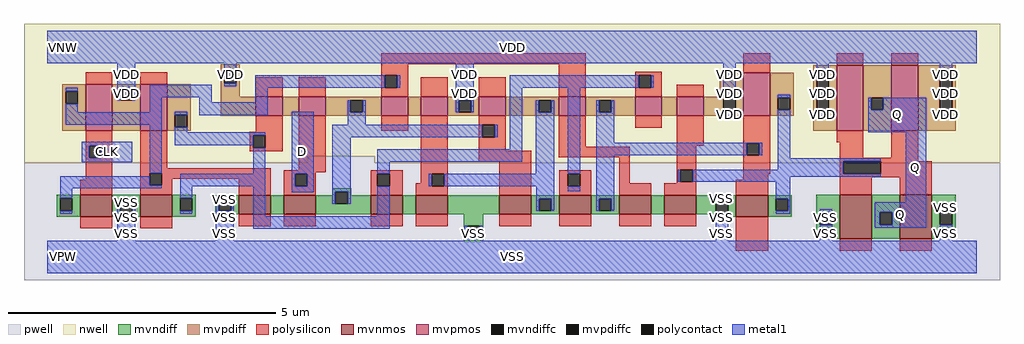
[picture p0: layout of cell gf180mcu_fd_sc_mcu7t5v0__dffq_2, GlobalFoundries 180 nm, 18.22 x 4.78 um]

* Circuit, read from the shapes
.subckt gf180mcu_fd_sc_mcu7t5v0__dffq_2 D CLK Q VDD VNW VPW VSS
XM1 VSS CLK n1 VPW nfet_06v0 w=0.405u l=0.6u
XM2 n2 n1 VSS VPW nfet_06v0 w=0.405u l=0.6u
XM3 n3 n1 VSS VPW nfet_06v0 w=0.36u l=0.6u
XM4 n4 D n3 VPW nfet_06v0 w=0.36u l=0.6u
XM5 n5 n2 n4 VPW nfet_06v0 w=0.36u l=0.6u
XM6 VSS n6 n5 VPW nfet_06v0 w=0.36u l=0.6u
XM7 n6 n4 VSS VPW nfet_06v0 w=0.36u l=0.6u
XM8 n7 n2 n6 VPW nfet_06v0 w=0.36u l=0.6u
XM9 n8 n1 n7 VPW nfet_06v0 w=0.36u l=0.6u
XM10 VSS n9 n8 VPW nfet_06v0 w=0.36u l=0.6u
XM11 n9 n7 VSS VPW nfet_06v0 w=0.4u l=0.6u
XM12 Q n9 VSS VPW nfet_06v0 w=0.82u l=0.6u m=2
XM13 VDD CLK n1 VNW pfet_06v0 w=0.865u l=0.5u
XM14 n2 n1 VDD VNW pfet_06v0 w=0.865u l=0.5u
XM15 n10 n2 VDD VNW pfet_06v0 w=0.36u l=0.5u
XM16 n4 D n10 VNW pfet_06v0 w=0.36u l=0.5u
XM17 n11 n1 n4 VNW pfet_06v0 w=0.36u l=0.5u
XM18 VDD n6 n11 VNW pfet_06v0 w=0.36u l=0.5u
XM19 n6 n4 VDD VNW pfet_06v0 w=0.36u l=0.5u
XM20 n7 n1 n6 VNW pfet_06v0 w=0.36u l=0.5u
XM21 n12 n2 n7 VNW pfet_06v0 w=0.36u l=0.5u
XM22 VDD n9 n12 VNW pfet_06v0 w=0.36u l=0.5u
XM23 n9 n7 VDD VNW pfet_06v0 w=0.8u l=0.5u
XM24 Q n9 VDD VNW pfet_06v0 w=1.22u l=0.5u m=2
.ends

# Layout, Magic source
magic
tech gf180mcuD
magscale 1 10
<< nwell >>
rect -86 377 3558 870
rect -86 352 973 377
rect 1224 352 3558 377
<< pwell >>
rect 973 352 1224 377
rect -86 -86 3558 352
<< mvnmos >>
rect 124 151 244 232
rect 348 151 468 232
rect 716 159 836 231
rect 884 159 1004 231
rect 1208 159 1328 231
rect 1376 159 1496 231
rect 1688 159 1808 231
rect 1912 159 2032 231
rect 2136 159 2256 231
rect 2304 159 2424 231
rect 2572 151 2692 231
rect 2960 68 3080 232
rect 3184 68 3304 232
<< mvpmos >>
rect 144 472 244 645
rect 348 472 448 645
rect 780 527 880 599
rect 940 527 1040 599
rect 1248 527 1348 599
rect 1396 527 1496 599
rect 1612 527 1712 599
rect 1911 527 2011 599
rect 2196 527 2296 599
rect 2352 527 2452 599
rect 2600 527 2700 687
rect 2948 472 3048 716
rect 3152 472 3252 716
<< mvndiff >>
rect 36 219 124 232
rect 36 173 49 219
rect 95 173 124 219
rect 36 151 124 173
rect 244 210 348 232
rect 244 164 273 210
rect 319 164 348 210
rect 244 151 348 164
rect 468 219 556 232
rect 1064 244 1136 257
rect 1064 231 1077 244
rect 468 173 497 219
rect 543 173 556 219
rect 468 151 556 173
rect 628 218 716 231
rect 628 172 641 218
rect 687 172 716 218
rect 628 159 716 172
rect 836 159 884 231
rect 1004 198 1077 231
rect 1123 231 1136 244
rect 1123 198 1208 231
rect 1004 159 1208 198
rect 1328 159 1376 231
rect 1496 159 1688 231
rect 1808 218 1912 231
rect 1808 172 1837 218
rect 1883 172 1912 218
rect 1808 159 1912 172
rect 2032 218 2136 231
rect 2032 172 2061 218
rect 2107 172 2136 218
rect 2032 159 2136 172
rect 2256 159 2304 231
rect 2424 210 2572 231
rect 2424 164 2497 210
rect 2543 164 2572 210
rect 2424 159 2572 164
rect 1556 117 1628 159
rect 1556 71 1569 117
rect 1615 71 1628 117
rect 2484 151 2572 159
rect 2692 218 2780 231
rect 2692 172 2721 218
rect 2767 172 2780 218
rect 2692 151 2780 172
rect 2872 167 2960 232
rect 1556 58 1628 71
rect 2872 121 2885 167
rect 2931 121 2960 167
rect 2872 68 2960 121
rect 3080 167 3184 232
rect 3080 121 3109 167
rect 3155 121 3184 167
rect 3080 68 3184 121
rect 3304 167 3392 232
rect 3304 121 3333 167
rect 3379 121 3392 167
rect 3304 68 3392 121
<< mvpdiff >>
rect 648 694 720 720
rect 648 648 661 694
rect 707 648 720 694
rect 56 619 144 645
rect 56 573 69 619
rect 115 573 144 619
rect 56 472 144 573
rect 244 632 348 645
rect 244 586 273 632
rect 319 586 348 632
rect 244 472 348 586
rect 448 531 536 645
rect 448 485 477 531
rect 523 485 536 531
rect 648 599 720 648
rect 2860 689 2948 716
rect 2512 599 2600 687
rect 648 527 780 599
rect 880 527 940 599
rect 1040 586 1248 599
rect 1040 540 1133 586
rect 1179 540 1248 586
rect 1040 527 1248 540
rect 1348 527 1396 599
rect 1496 586 1612 599
rect 1496 540 1537 586
rect 1583 540 1612 586
rect 1496 527 1612 540
rect 1712 586 1911 599
rect 1712 540 1836 586
rect 1882 540 1911 586
rect 1712 527 1911 540
rect 2011 586 2196 599
rect 2011 540 2061 586
rect 2107 540 2196 586
rect 2011 527 2196 540
rect 2296 527 2352 599
rect 2452 595 2600 599
rect 2452 549 2525 595
rect 2571 549 2600 595
rect 2452 527 2600 549
rect 2700 595 2788 687
rect 2700 549 2729 595
rect 2775 549 2788 595
rect 2700 527 2788 549
rect 2860 549 2873 689
rect 2919 549 2948 689
rect 448 472 536 485
rect 2860 472 2948 549
rect 3048 595 3152 716
rect 3048 549 3077 595
rect 3123 549 3152 595
rect 3048 472 3152 549
rect 3252 689 3392 716
rect 3252 549 3333 689
rect 3379 549 3392 689
rect 3252 472 3392 549
<< mvndiffc >>
rect 49 173 95 219
rect 273 164 319 210
rect 497 173 543 219
rect 641 172 687 218
rect 1077 198 1123 244
rect 1837 172 1883 218
rect 2061 172 2107 218
rect 2497 164 2543 210
rect 1569 71 1615 117
rect 2721 172 2767 218
rect 2885 121 2931 167
rect 3109 121 3155 167
rect 3333 121 3379 167
<< mvpdiffc >>
rect 661 648 707 694
rect 69 573 115 619
rect 273 586 319 632
rect 477 485 523 531
rect 1133 540 1179 586
rect 1537 540 1583 586
rect 1836 540 1882 586
rect 2061 540 2107 586
rect 2525 549 2571 595
rect 2729 549 2775 595
rect 2873 549 2919 689
rect 3077 549 3123 595
rect 3333 549 3379 689
<< polysilicon >>
rect 1248 720 2011 760
rect 144 645 244 690
rect 348 645 448 690
rect 1248 678 1348 720
rect 780 599 880 672
rect 940 599 1040 672
rect 1248 632 1261 678
rect 1307 632 1348 678
rect 1248 599 1348 632
rect 1396 599 1496 672
rect 1612 599 1712 672
rect 1911 599 2011 720
rect 2196 678 2296 691
rect 2600 687 2700 760
rect 2948 716 3048 760
rect 3152 716 3252 760
rect 2196 632 2209 678
rect 2255 632 2296 678
rect 2196 599 2296 632
rect 2352 599 2452 643
rect 144 416 244 472
rect 144 370 157 416
rect 203 370 244 416
rect 144 288 244 370
rect 124 232 244 288
rect 348 332 448 472
rect 780 467 880 527
rect 756 454 880 467
rect 756 408 769 454
rect 815 408 880 454
rect 756 395 880 408
rect 348 313 836 332
rect 940 324 1040 527
rect 1248 471 1348 527
rect 348 267 383 313
rect 429 292 836 313
rect 429 267 468 292
rect 348 232 468 267
rect 716 231 836 292
rect 884 317 1040 324
rect 884 311 1004 317
rect 884 265 926 311
rect 972 265 1004 311
rect 884 231 1004 265
rect 1208 311 1328 324
rect 1208 265 1233 311
rect 1279 265 1328 311
rect 1396 310 1496 527
rect 1612 494 1712 527
rect 1612 448 1625 494
rect 1671 448 1712 494
rect 1612 396 1712 448
rect 1911 412 2011 527
rect 2196 483 2296 527
rect 2352 416 2452 527
rect 2600 425 2700 527
rect 2948 428 3048 472
rect 1612 356 1808 396
rect 1911 372 2176 412
rect 1396 275 1437 310
rect 1208 231 1328 265
rect 1376 264 1437 275
rect 1483 264 1496 310
rect 1376 231 1496 264
rect 1688 231 1808 356
rect 1912 310 2032 323
rect 1912 264 1944 310
rect 1990 264 2032 310
rect 1912 231 2032 264
rect 2136 275 2176 372
rect 2352 326 2424 416
rect 2352 280 2365 326
rect 2411 280 2424 326
rect 2600 379 2613 425
rect 2659 379 2700 425
rect 2600 311 2700 379
rect 2960 370 3048 428
rect 3152 370 3252 472
rect 2960 357 3252 370
rect 2960 311 2973 357
rect 3113 311 3304 357
rect 2600 288 2692 311
rect 2352 275 2424 280
rect 2136 231 2256 275
rect 2304 231 2424 275
rect 2572 231 2692 288
rect 2960 298 3304 311
rect 2960 232 3080 298
rect 3184 232 3304 298
rect 124 107 244 151
rect 348 107 468 151
rect 716 115 836 159
rect 884 115 1004 159
rect 1208 115 1328 159
rect 1376 115 1496 159
rect 1688 115 1808 159
rect 1912 115 2032 159
rect 2136 115 2256 159
rect 2304 115 2424 159
rect 2572 24 2692 151
rect 2960 24 3080 68
rect 3184 24 3304 68
<< polycontact >>
rect 1261 632 1307 678
rect 2209 632 2255 678
rect 157 370 203 416
rect 769 408 815 454
rect 383 267 429 313
rect 926 265 972 311
rect 1233 265 1279 311
rect 1625 448 1671 494
rect 1437 264 1483 310
rect 1944 264 1990 310
rect 2365 280 2411 326
rect 2613 379 2659 425
rect 2973 311 3113 357
<< metal1 >>
rect 0 724 3472 844
rect 262 632 330 724
rect 661 694 707 724
rect 69 619 115 631
rect 262 586 273 632
rect 319 586 330 632
rect 383 596 615 643
rect 661 637 707 648
rect 69 540 115 573
rect 383 540 429 596
rect 569 577 615 596
rect 778 632 1261 678
rect 1307 632 1318 678
rect 778 577 824 632
rect 1526 586 1594 724
rect 69 494 429 540
rect 130 416 318 430
rect 130 370 157 416
rect 203 370 318 416
rect 130 354 318 370
rect 383 313 429 494
rect 477 531 523 542
rect 569 530 824 577
rect 477 465 523 485
rect 477 454 815 465
rect 477 418 769 454
rect 49 267 383 302
rect 769 311 815 408
rect 49 256 429 267
rect 497 265 815 311
rect 49 219 95 256
rect 497 219 543 265
rect 49 162 95 173
rect 262 164 273 210
rect 319 164 330 210
rect 262 60 330 164
rect 497 162 543 173
rect 630 172 641 218
rect 687 172 698 218
rect 630 60 698 172
rect 769 152 815 265
rect 914 311 995 542
rect 1122 540 1133 586
rect 1179 540 1190 586
rect 1526 540 1537 586
rect 1583 540 1594 586
rect 1728 632 2209 678
rect 2255 632 2266 678
rect 1122 494 1190 540
rect 914 265 926 311
rect 972 265 995 311
rect 914 242 995 265
rect 1065 448 1625 494
rect 1671 448 1682 494
rect 1065 244 1134 448
rect 1728 402 1774 632
rect 1065 198 1077 244
rect 1123 198 1134 244
rect 1233 356 1774 402
rect 1825 540 1836 586
rect 1882 540 1894 586
rect 1233 311 1279 356
rect 1825 310 1894 540
rect 1233 152 1279 265
rect 1426 264 1437 310
rect 1483 264 1894 310
rect 1826 218 1894 264
rect 1944 310 1990 632
rect 2525 595 2571 724
rect 2873 689 2919 724
rect 1944 245 1990 264
rect 2050 540 2061 586
rect 2107 540 2118 586
rect 2050 426 2118 540
rect 2525 527 2571 549
rect 2729 595 2775 606
rect 2050 425 2670 426
rect 2050 379 2613 425
rect 2659 379 2670 425
rect 1826 172 1837 218
rect 1883 172 1894 218
rect 2050 218 2118 379
rect 2729 368 2775 549
rect 3333 689 3379 724
rect 2873 527 2919 549
rect 3066 549 3077 595
rect 3123 549 3282 595
rect 3066 466 3282 549
rect 3333 527 3379 549
rect 2729 357 3113 368
rect 2729 326 2973 357
rect 2354 280 2365 326
rect 2411 311 2973 326
rect 2411 300 3113 311
rect 2411 280 2774 300
rect 2050 172 2061 218
rect 2107 172 2118 218
rect 2497 210 2543 221
rect 769 106 1279 152
rect 1558 71 1569 117
rect 1615 71 1626 117
rect 1558 60 1626 71
rect 2497 60 2543 164
rect 2721 218 2774 280
rect 2767 172 2774 218
rect 3206 204 3282 466
rect 2721 161 2774 172
rect 2885 167 2931 178
rect 2885 60 2931 121
rect 3090 167 3282 204
rect 3090 121 3109 167
rect 3155 121 3282 167
rect 3090 110 3282 121
rect 3333 167 3379 194
rect 3333 60 3379 121
rect 0 -60 3472 60
<< labels >>
flabel metal1 s 914 242 995 542 0 FreeSans 600 0 0 0 D
port 1 nsew default input
flabel metal1 s 0 724 3472 844 0 FreeSans 600 0 0 0 VDD
port 4 nsew power bidirectional abutment
flabel metal1 s 2497 218 2543 221 0 FreeSans 600 0 0 0 VSS
port 7 nsew ground bidirectional abutment
flabel metal1 s 130 354 318 430 0 FreeSans 600 0 0 0 CLK
port 2 nsew clock input
flabel metal1 s 3066 466 3282 595 0 FreeSans 600 0 0 0 Q
port 3 nsew default output
flabel nwell s 10 734 110 834 0 FreeSans 400 0 0 0 VNW
port 5 nsew power bidirectional
flabel pwell s 10 -50 110 50 0 FreeSans 400 0 0 0 VPW
port 6 nsew ground bidirectional
rlabel metal1 s 3206 204 3282 466 1 Q
port 3 nsew default output
rlabel metal1 s 3090 110 3282 204 1 Q
port 3 nsew default output
rlabel metal1 s 3333 637 3379 724 1 VDD
port 4 nsew power bidirectional abutment
rlabel metal1 s 2873 637 2919 724 1 VDD
port 4 nsew power bidirectional abutment
rlabel metal1 s 2525 637 2571 724 1 VDD
port 4 nsew power bidirectional abutment
rlabel metal1 s 1526 637 1594 724 1 VDD
port 4 nsew power bidirectional abutment
rlabel metal1 s 661 637 707 724 1 VDD
port 4 nsew power bidirectional abutment
rlabel metal1 s 262 637 330 724 1 VDD
port 4 nsew power bidirectional abutment
rlabel metal1 s 3333 586 3379 637 1 VDD
port 4 nsew power bidirectional abutment
rlabel metal1 s 2873 586 2919 637 1 VDD
port 4 nsew power bidirectional abutment
rlabel metal1 s 2525 586 2571 637 1 VDD
port 4 nsew power bidirectional abutment
rlabel metal1 s 1526 586 1594 637 1 VDD
port 4 nsew power bidirectional abutment
rlabel metal1 s 262 586 330 637 1 VDD
port 4 nsew power bidirectional abutment
rlabel metal1 s 3333 540 3379 586 1 VDD
port 4 nsew power bidirectional abutment
rlabel metal1 s 2873 540 2919 586 1 VDD
port 4 nsew power bidirectional abutment
rlabel metal1 s 2525 540 2571 586 1 VDD
port 4 nsew power bidirectional abutment
rlabel metal1 s 1526 540 1594 586 1 VDD
port 4 nsew power bidirectional abutment
rlabel metal1 s 3333 527 3379 540 1 VDD
port 4 nsew power bidirectional abutment
rlabel metal1 s 2873 527 2919 540 1 VDD
port 4 nsew power bidirectional abutment
rlabel metal1 s 2525 527 2571 540 1 VDD
port 4 nsew power bidirectional abutment
rlabel metal1 s 2497 210 2543 218 1 VSS
port 7 nsew ground bidirectional abutment
rlabel metal1 s 630 210 698 218 1 VSS
port 7 nsew ground bidirectional abutment
rlabel metal1 s 2497 194 2543 210 1 VSS
port 7 nsew ground bidirectional abutment
rlabel metal1 s 630 194 698 210 1 VSS
port 7 nsew ground bidirectional abutment
rlabel metal1 s 262 194 330 210 1 VSS
port 7 nsew ground bidirectional abutment
rlabel metal1 s 3333 178 3379 194 1 VSS
port 7 nsew ground bidirectional abutment
rlabel metal1 s 2497 178 2543 194 1 VSS
port 7 nsew ground bidirectional abutment
rlabel metal1 s 630 178 698 194 1 VSS
port 7 nsew ground bidirectional abutment
rlabel metal1 s 262 178 330 194 1 VSS
port 7 nsew ground bidirectional abutment
rlabel metal1 s 3333 117 3379 178 1 VSS
port 7 nsew ground bidirectional abutment
rlabel metal1 s 2885 117 2931 178 1 VSS
port 7 nsew ground bidirectional abutment
rlabel metal1 s 2497 117 2543 178 1 VSS
port 7 nsew ground bidirectional abutment
rlabel metal1 s 630 117 698 178 1 VSS
port 7 nsew ground bidirectional abutment
rlabel metal1 s 262 117 330 178 1 VSS
port 7 nsew ground bidirectional abutment
rlabel metal1 s 3333 60 3379 117 1 VSS
port 7 nsew ground bidirectional abutment
rlabel metal1 s 2885 60 2931 117 1 VSS
port 7 nsew ground bidirectional abutment
rlabel metal1 s 2497 60 2543 117 1 VSS
port 7 nsew ground bidirectional abutment
rlabel metal1 s 1558 60 1626 117 1 VSS
port 7 nsew ground bidirectional abutment
rlabel metal1 s 630 60 698 117 1 VSS
port 7 nsew ground bidirectional abutment
rlabel metal1 s 262 60 330 117 1 VSS
port 7 nsew ground bidirectional abutment
rlabel metal1 s 0 -60 3472 60 1 VSS
port 7 nsew ground bidirectional abutment
<< properties >>
string FIXED_BBOX 0 0 3472 784
string GDS_END 981854
string GDS_FILE $PDKPATH/libs.ref/gf180mcu_fd_sc_mcu7t5v0/gds/gf180mcu_fd_sc_mcu7t5v0.gds
string GDS_START 974442
string LEFclass core
string LEFsite GF018hv5v_mcu_sc7
string LEFsymmetry X Y
<< end >>
